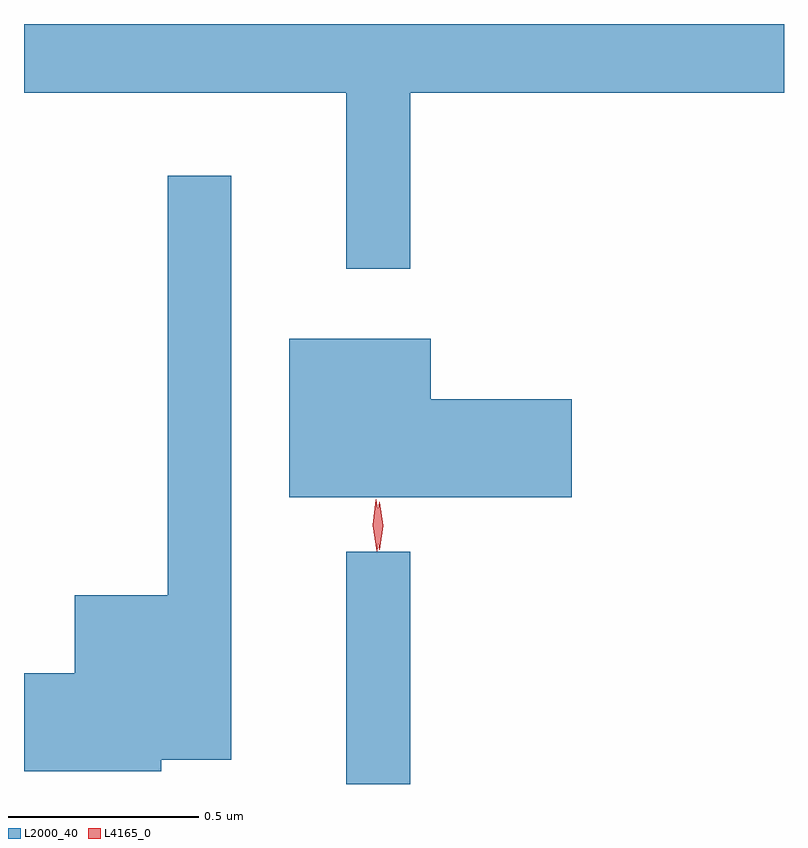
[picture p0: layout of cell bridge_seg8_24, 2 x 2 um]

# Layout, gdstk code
import gdstk
lib = gdstk.Library(unit=1e-6, precision=1e-09)
def R(c, l, rs):  # rectangles x0, y0, x1, y1
    for r in rs: c.add(gdstk.rectangle(r[:2], r[2:], *l))
def P(c, l, *ps):  # polygons
    for p in ps: c.add(gdstk.Polygon(p, *l))
L2000_40 = (2000, 40)
L4165_0 = (4165, 0)

bridge_seg8_24 = lib.new_cell('bridge_seg8_24')
R(bridge_seg8_24, L2000_40, [(1725.241,1936.717,1725.409,1937.328)])
P(bridge_seg8_24, L2000_40, [(1725.409,1938.536),(1726.393,1938.536),(1726.393,1938.717),(1724.393,1938.717),(1724.393,1938.536),(1725.241,1938.536),(1725.241,1938.073),(1725.409,1938.073)],
  [(1724.754,1936.781),(1724.939,1936.781),(1724.939,1938.318),(1724.771,1938.318),(1724.771,1937.214),(1724.526,1937.214),(1724.526,1937.009),(1724.393,1937.009),(1724.393,1936.751),(1724.754,1936.751)],
  [(1725.834,1937.729),(1725.464,1937.729),(1725.464,1937.889),(1725.091,1937.889),(1725.091,1937.471),(1725.834,1937.471)])
P(bridge_seg8_24, L4165_0, [(1725.321,1937.33),(1725.321,1937.33),(1725.311,1937.398),(1725.319,1937.465),(1725.32,1937.466),(1725.32,1937.465),(1725.33,1937.398),(1725.322,1937.33)],
  [(1725.328,1937.333),(1725.328,1937.333),(1725.318,1937.396),(1725.328,1937.459),(1725.328,1937.46),(1725.329,1937.459),(1725.338,1937.396),(1725.329,1937.333)])

lib.write_gds('bridge_seg8_24.gds')
